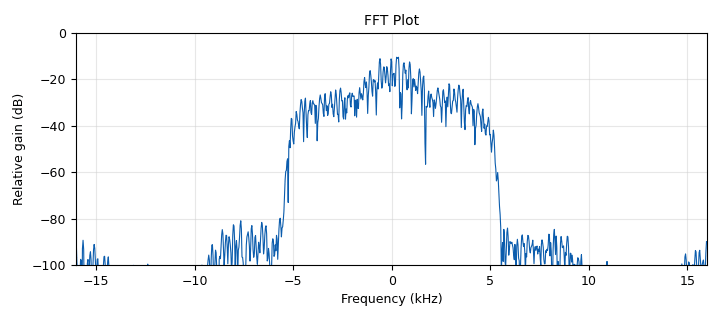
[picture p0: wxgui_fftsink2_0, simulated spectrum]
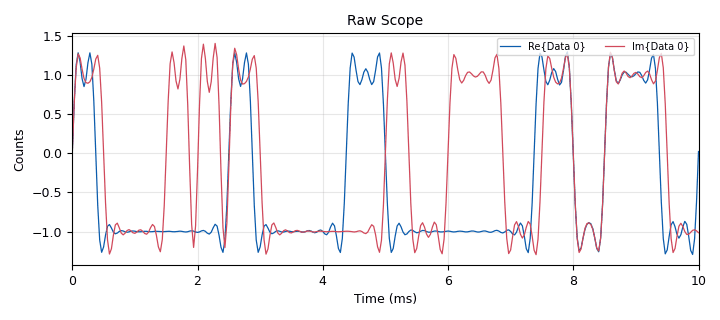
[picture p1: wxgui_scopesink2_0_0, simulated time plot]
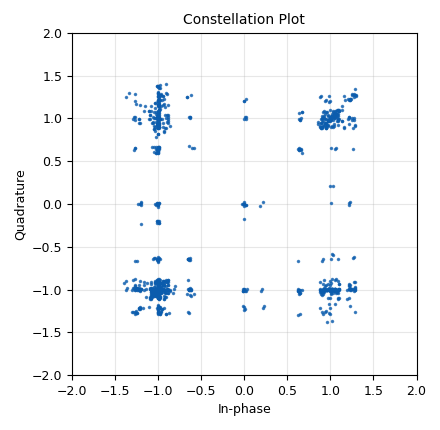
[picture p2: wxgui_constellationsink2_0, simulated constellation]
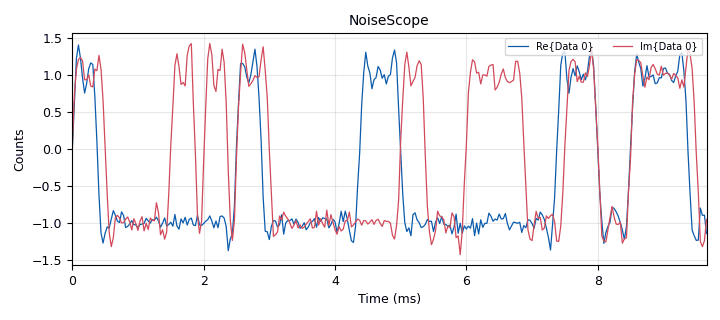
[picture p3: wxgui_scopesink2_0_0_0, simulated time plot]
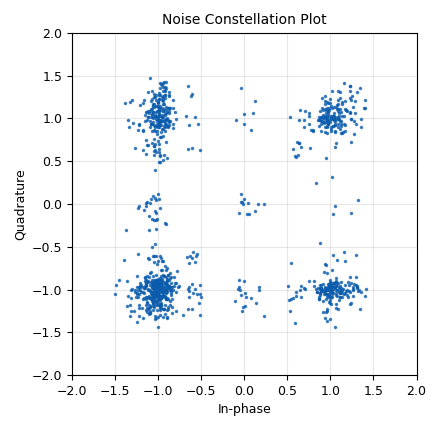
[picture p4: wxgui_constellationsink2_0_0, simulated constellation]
<?xml version='1.0' encoding='utf-8'?>
<flow_graph>
<block>
<key>options</key>
<param><key>id</key><value>top_block</value></param>
<param><key>generate_options</key><value>wx_gui</value></param>
<param><key>category</key><value>Custom</value></param>
</block>
<block>
<key>variable</key>
<param><key>id</key><value>n_samp</value></param>
<param><key>value</key><value>1024</value></param>
</block>
<block>
<key>random_source_x</key>
<param><key>id</key><value>random_source_x_0</value></param>
<param><key>type</key><value>byte</value></param>
<param><key>min</key><value>0</value></param>
<param><key>max</key><value>8</value></param>
<param><key>num_samps</key><value>1000000</value></param>
<param><key>repeat</key><value>True</value></param>
</block>
<block>
<key>wxgui_scopesink2</key>
<param><key>id</key><value>wxgui_scopesink2_0_1_0</value></param>
<param><key>_enabled</key><value>False</value></param>
<param><key>type</key><value>float</value></param>
<param><key>title</key><value>Scope Plot</value></param>
<param><key>samp_rate</key><value>samp_rate</value></param>
<param><key>v_scale</key><value>1.5</value></param>
<param><key>v_offset</key><value>0</value></param>
<param><key>t_scale</key><value>0</value></param>
<param><key>ac_couple</key><value>False</value></param>
<param><key>xy_mode</key><value>False</value></param>
<param><key>num_inputs</key><value>1</value></param>
<param><key>grid_pos</key><value>(1, 2, 2, 2)</value></param>
<param><key>notebook</key><value>notebook_0,2</value></param>
<param><key>trig_mode</key><value>gr.gr_TRIG_MODE_AUTO</value></param>
<param><key>y_axis_label</key><value>Counts</value></param>
</block>
<block>
<key>eecs_x_corr</key>
<param><key>id</key><value>eecs_x_corr_1_1</value></param>
<param><key>_enabled</key><value>False</value></param>
<param><key>freq</key><value>samp_rate</value></param>
<param><key>sampRate</key><value>samp_rate</value></param>
<param><key>nSamples</key><value>n_samp</value></param>
</block>
<block>
<key>eecs_x_corr</key>
<param><key>id</key><value>eecs_x_corr_1_0</value></param>
<param><key>_enabled</key><value>False</value></param>
<param><key>freq</key><value>samp_rate</value></param>
<param><key>sampRate</key><value>samp_rate</value></param>
<param><key>nSamples</key><value>n_samp</value></param>
</block>
<block>
<key>eecs_x_corr</key>
<param><key>id</key><value>eecs_x_corr_1</value></param>
<param><key>_enabled</key><value>False</value></param>
<param><key>freq</key><value>samp_rate</value></param>
<param><key>sampRate</key><value>samp_rate</value></param>
<param><key>nSamples</key><value>n_samp</value></param>
</block>
<block>
<key>gr_complex_to_real</key>
<param><key>id</key><value>gr_complex_to_real_0_3</value></param>
<param><key>_enabled</key><value>False</value></param>
<param><key>vlen</key><value>1</value></param>
</block>
<block>
<key>gr_complex_to_real</key>
<param><key>id</key><value>gr_complex_to_real_0</value></param>
<param><key>_enabled</key><value>False</value></param>
<param><key>vlen</key><value>1</value></param>
</block>
<block>
<key>gr_complex_to_real</key>
<param><key>id</key><value>gr_complex_to_real_0_0</value></param>
<param><key>_enabled</key><value>False</value></param>
<param><key>vlen</key><value>1</value></param>
</block>
<block>
<key>gr_complex_to_real</key>
<param><key>id</key><value>gr_complex_to_real_0_2</value></param>
<param><key>_enabled</key><value>False</value></param>
<param><key>vlen</key><value>1</value></param>
</block>
<block>
<key>gr_complex_to_real</key>
<param><key>id</key><value>gr_complex_to_real_0_1</value></param>
<param><key>_enabled</key><value>False</value></param>
<param><key>vlen</key><value>1</value></param>
</block>
<block>
<key>wxgui_scopesink2</key>
<param><key>id</key><value>wxgui_scopesink2_0_1</value></param>
<param><key>_enabled</key><value>False</value></param>
<param><key>type</key><value>float</value></param>
<param><key>title</key><value>Scope Plot</value></param>
<param><key>samp_rate</key><value>samp_rate</value></param>
<param><key>v_scale</key><value>0</value></param>
<param><key>v_offset</key><value>0</value></param>
<param><key>t_scale</key><value>0</value></param>
<param><key>ac_couple</key><value>False</value></param>
<param><key>xy_mode</key><value>False</value></param>
<param><key>num_inputs</key><value>4</value></param>
<param><key>grid_pos</key><value>(2, 1, 2, 1)</value></param>
<param><key>notebook</key><value>notebook_0,2</value></param>
<param><key>trig_mode</key><value>gr.gr_TRIG_MODE_AUTO</value></param>
<param><key>y_axis_label</key><value>Counts</value></param>
</block>
<block>
<key>wxgui_scopesink2</key>
<param><key>id</key><value>wxgui_scopesink2_0</value></param>
<param><key>_enabled</key><value>False</value></param>
<param><key>type</key><value>complex</value></param>
<param><key>title</key><value>Scope Plot</value></param>
<param><key>samp_rate</key><value>samp_rate</value></param>
<param><key>v_scale</key><value>0</value></param>
<param><key>v_offset</key><value>0</value></param>
<param><key>t_scale</key><value>0</value></param>
<param><key>ac_couple</key><value>False</value></param>
<param><key>xy_mode</key><value>False</value></param>
<param><key>num_inputs</key><value>1</value></param>
<param><key>notebook</key><value>notebook_0,0</value></param>
<param><key>trig_mode</key><value>gr.gr_TRIG_MODE_AUTO</value></param>
<param><key>y_axis_label</key><value>Counts</value></param>
</block>
<block>
<key>wxgui_fftsink2</key>
<param><key>id</key><value>wxgui_fftsink2_0</value></param>
<param><key>type</key><value>complex</value></param>
<param><key>title</key><value>FFT Plot</value></param>
<param><key>samp_rate</key><value>samp_rate</value></param>
<param><key>baseband_freq</key><value>0</value></param>
<param><key>y_per_div</key><value>10</value></param>
<param><key>y_divs</key><value>10</value></param>
<param><key>ref_level</key><value>0</value></param>
<param><key>ref_scale</key><value>2.0</value></param>
<param><key>fft_size</key><value>1024</value></param>
<param><key>fft_rate</key><value>15</value></param>
<param><key>peak_hold</key><value>False</value></param>
<param><key>average</key><value>False</value></param>
<param><key>avg_alpha</key><value>0</value></param>
<param><key>win</key><value>None</value></param>
<param><key>notebook</key><value>notebook_0,2</value></param>
<param><key>freqvar</key><value>None</value></param>
</block>
<block>
<key>blocks_throttle</key>
<param><key>id</key><value>blocks_throttle_0_0</value></param>
<param><key>type</key><value>complex</value></param>
<param><key>samples_per_second</key><value>samp_rate</value></param>
</block>
<block>
<key>wxgui_scopesink2</key>
<param><key>id</key><value>wxgui_scopesink2_0_0</value></param>
<param><key>type</key><value>complex</value></param>
<param><key>title</key><value>Raw Scope</value></param>
<param><key>samp_rate</key><value>samp_rate</value></param>
<param><key>v_scale</key><value>0</value></param>
<param><key>v_offset</key><value>0</value></param>
<param><key>t_scale</key><value>0</value></param>
<param><key>ac_couple</key><value>False</value></param>
<param><key>xy_mode</key><value>False</value></param>
<param><key>num_inputs</key><value>1</value></param>
<param><key>notebook</key><value>notebook_0,1</value></param>
<param><key>trig_mode</key><value>gr.gr_TRIG_MODE_AUTO</value></param>
<param><key>y_axis_label</key><value>Counts</value></param>
</block>
<block>
<key>blocks_add_xx</key>
<param><key>id</key><value>blocks_add_xx_0</value></param>
<param><key>type</key><value>complex</value></param>
</block>
<block>
<key>analog_noise_source_x</key>
<param><key>id</key><value>analog_noise_source_x_0</value></param>
<param><key>type</key><value>complex</value></param>
<param><key>noise_type</key><value>analog.GR_GAUSSIAN</value></param>
<param><key>amp</key><value>noise</value></param>
<param><key>seed</key><value>0</value></param>
</block>
<block>
<key>wxgui_constellationsink2</key>
<param><key>id</key><value>wxgui_constellationsink2_0</value></param>
<param><key>title</key><value>Constellation Plot</value></param>
<param><key>samp_rate</key><value>samp_rate</value></param>
<param><key>frame_rate</key><value>5</value></param>
<param><key>const_size</key><value>2048/2</value></param>
<param><key>M</key><value>4</value></param>
<param><key>theta</key><value>0</value></param>
<param><key>loop_bw</key><value>6.28/100.0</value></param>
<param><key>fmax</key><value>0.06</value></param>
<param><key>mu</key><value>0.5</value></param>
<param><key>gain_mu</key><value>0.005</value></param>
<param><key>symbol_rate</key><value>samp_rate/4.</value></param>
<param><key>omega_limit</key><value>0.005</value></param>
<param><key>notebook</key><value>notebook_0,0</value></param>
</block>
<block>
<key>notebook</key>
<param><key>id</key><value>notebook_0</value></param>
<param><key>style</key><value>wx.NB_TOP</value></param>
<param><key>labels</key><value>['Raw Const', 'Raw Scope','Cool','Clock Sync Const']</value></param>
</block>
<block>
<key>digital_psk_mod</key>
<param><key>id</key><value>digital_psk_mod_0</value></param>
<param><key>constellation_points</key><value>4</value></param>
<param><key>mod_code</key><value>"gray"</value></param>
<param><key>differential</key><value>True</value></param>
<param><key>samples_per_symbol</key><value>4</value></param>
<param><key>excess_bw</key><value>0.35</value></param>
</block>
<block>
<key>wxgui_constellationsink2</key>
<param><key>id</key><value>wxgui_constellationsink2_0_1</value></param>
<param><key>title</key><value>Constellation Plot</value></param>
<param><key>samp_rate</key><value>samp_rate</value></param>
<param><key>frame_rate</key><value>5</value></param>
<param><key>const_size</key><value>2048/2</value></param>
<param><key>M</key><value>4</value></param>
<param><key>theta</key><value>0</value></param>
<param><key>loop_bw</key><value>6.28/100.0</value></param>
<param><key>fmax</key><value>0.06</value></param>
<param><key>mu</key><value>0.5</value></param>
<param><key>gain_mu</key><value>0.005</value></param>
<param><key>symbol_rate</key><value>samp_rate/4.</value></param>
<param><key>omega_limit</key><value>0.005</value></param>
<param><key>notebook</key><value>notebook_0,3</value></param>
</block>
<block>
<key>wxgui_scopesink2</key>
<param><key>id</key><value>wxgui_scopesink2_0_0_0</value></param>
<param><key>type</key><value>complex</value></param>
<param><key>title</key><value>NoiseScope</value></param>
<param><key>samp_rate</key><value>samp_rate</value></param>
<param><key>v_scale</key><value>0</value></param>
<param><key>v_offset</key><value>0</value></param>
<param><key>t_scale</key><value>0</value></param>
<param><key>ac_couple</key><value>False</value></param>
<param><key>xy_mode</key><value>False</value></param>
<param><key>num_inputs</key><value>1</value></param>
<param><key>notebook</key><value>notebook_0,1</value></param>
<param><key>trig_mode</key><value>gr.gr_TRIG_MODE_AUTO</value></param>
<param><key>y_axis_label</key><value>Counts</value></param>
</block>
<block>
<key>blocks_multiply_const_vxx</key>
<param><key>id</key><value>blocks_multiply_const_vxx_0</value></param>
<param><key>type</key><value>complex</value></param>
<param><key>const</key><value>1+1j</value></param>
</block>
<block>
<key>wxgui_constellationsink2</key>
<param><key>id</key><value>wxgui_constellationsink2_0_0</value></param>
<param><key>title</key><value>Noise Constellation Plot</value></param>
<param><key>samp_rate</key><value>samp_rate</value></param>
<param><key>frame_rate</key><value>5</value></param>
<param><key>const_size</key><value>2048/2</value></param>
<param><key>M</key><value>4</value></param>
<param><key>theta</key><value>0</value></param>
<param><key>loop_bw</key><value>6.28/100.0</value></param>
<param><key>fmax</key><value>0.06</value></param>
<param><key>mu</key><value>0.5</value></param>
<param><key>gain_mu</key><value>0.005</value></param>
<param><key>symbol_rate</key><value>samp_rate/4.</value></param>
<param><key>omega_limit</key><value>0.005</value></param>
<param><key>notebook</key><value>notebook_0,0</value></param>
</block>
<block>
<key>import</key>
<param><key>id</key><value>import_0</value></param>
<param><key>import</key><value>import math</value></param>
</block>
<block>
<key>variable_slider</key>
<param><key>id</key><value>noise</value></param>
<param><key>label</key><value></value></param>
<param><key>value</key><value>.1</value></param>
<param><key>min</key><value>0</value></param>
<param><key>max</key><value>1</value></param>
<param><key>num_steps</key><value>100</value></param>
<param><key>style</key><value>wx.SL_HORIZONTAL</value></param>
<param><key>converver</key><value>float_converter</value></param>
<param><key>notebook</key><value>notebook_0,1</value></param>
</block>
<block>
<key>variable</key>
<param><key>id</key><value>samp_rate</value></param>
<param><key>value</key><value>32000</value></param>
</block>
<block>
<key>variable</key>
<param><key>id</key><value>fc</value></param>
<param><key>value</key><value>samp_rate</value></param>
</block>
<block>
<key>eecs_phase_shifter</key>
<param><key>id</key><value>eecs_phase_shifter_0</value></param>
<param><key>_enabled</key><value>False</value></param>
<param><key>Rs</key><value>20*wl</value></param>
<param><key>dx</key><value>wl/2</value></param>
<param><key>theta</key><value>theta*math.pi/180</value></param>
<param><key>wl</key><value>wl</value></param>
<param><key>ph0</key><value>0</value></param>
</block>
<block>
<key>variable_slider</key>
<param><key>id</key><value>theta</value></param>
<param><key>label</key><value>theta</value></param>
<param><key>value</key><value>0</value></param>
<param><key>min</key><value>-1*math.pi/2*0+-90</value></param>
<param><key>max</key><value>math.pi/2*0+90</value></param>
<param><key>num_steps</key><value>360*0+180</value></param>
<param><key>style</key><value>wx.SL_HORIZONTAL</value></param>
<param><key>converver</key><value>float_converter</value></param>
<param><key>notebook</key><value>notebook_0,2</value></param>
</block>
<block>
<key>variable</key>
<param><key>id</key><value>wl</value></param>
<param><key>value</key><value>300e6/fc</value></param>
</block>
<connection><source_block_id>analog_noise_source_x_0</source_block_id><sink_block_id>blocks_add_xx_0</sink_block_id><source_key>0</source_key><sink_key>1</sink_key></connection>
<connection><source_block_id>random_source_x_0</source_block_id><sink_block_id>digital_psk_mod_0</sink_block_id><source_key>0</source_key><sink_key>0</sink_key></connection>
<connection><source_block_id>digital_psk_mod_0</source_block_id><sink_block_id>blocks_multiply_const_vxx_0</sink_block_id><source_key>0</source_key><sink_key>0</sink_key></connection>
<connection><source_block_id>blocks_multiply_const_vxx_0</source_block_id><sink_block_id>blocks_throttle_0_0</sink_block_id><source_key>0</source_key><sink_key>0</sink_key></connection>
<connection><source_block_id>blocks_throttle_0_0</source_block_id><sink_block_id>wxgui_scopesink2_0_0</sink_block_id><source_key>0</source_key><sink_key>0</sink_key></connection>
<connection><source_block_id>gr_complex_to_real_0_3</source_block_id><sink_block_id>wxgui_scopesink2_0_1_0</sink_block_id><source_key>0</source_key><sink_key>0</sink_key></connection>
<connection><source_block_id>eecs_x_corr_1_1</source_block_id><sink_block_id>gr_complex_to_real_0_3</sink_block_id><source_key>0</source_key><sink_key>0</sink_key></connection>
<connection><source_block_id>eecs_x_corr_1_0</source_block_id><sink_block_id>eecs_x_corr_1_1</sink_block_id><source_key>0</source_key><sink_key>1</sink_key></connection>
<connection><source_block_id>eecs_x_corr_1</source_block_id><sink_block_id>eecs_x_corr_1_1</sink_block_id><source_key>0</source_key><sink_key>0</sink_key></connection>
<connection><source_block_id>eecs_phase_shifter_0</source_block_id><sink_block_id>eecs_x_corr_1_0</sink_block_id><source_key>3</source_key><sink_key>1</sink_key></connection>
<connection><source_block_id>eecs_phase_shifter_0</source_block_id><sink_block_id>eecs_x_corr_1_0</sink_block_id><source_key>2</source_key><sink_key>0</sink_key></connection>
<connection><source_block_id>eecs_phase_shifter_0</source_block_id><sink_block_id>eecs_x_corr_1</sink_block_id><source_key>1</source_key><sink_key>1</sink_key></connection>
<connection><source_block_id>eecs_phase_shifter_0</source_block_id><sink_block_id>eecs_x_corr_1</sink_block_id><source_key>0</source_key><sink_key>0</sink_key></connection>
<connection><source_block_id>gr_complex_to_real_0</source_block_id><sink_block_id>wxgui_scopesink2_0_1</sink_block_id><source_key>0</source_key><sink_key>0</sink_key></connection>
<connection><source_block_id>gr_complex_to_real_0_2</source_block_id><sink_block_id>wxgui_scopesink2_0_1</sink_block_id><source_key>0</source_key><sink_key>1</sink_key></connection>
<connection><source_block_id>gr_complex_to_real_0_1</source_block_id><sink_block_id>wxgui_scopesink2_0_1</sink_block_id><source_key>0</source_key><sink_key>2</sink_key></connection>
<connection><source_block_id>gr_complex_to_real_0_0</source_block_id><sink_block_id>wxgui_scopesink2_0_1</sink_block_id><source_key>0</source_key><sink_key>3</sink_key></connection>
<connection><source_block_id>eecs_phase_shifter_0</source_block_id><sink_block_id>gr_complex_to_real_0</sink_block_id><source_key>0</source_key><sink_key>0</sink_key></connection>
<connection><source_block_id>eecs_phase_shifter_0</source_block_id><sink_block_id>gr_complex_to_real_0_0</sink_block_id><source_key>3</source_key><sink_key>0</sink_key></connection>
<connection><source_block_id>eecs_phase_shifter_0</source_block_id><sink_block_id>gr_complex_to_real_0_2</sink_block_id><source_key>1</source_key><sink_key>0</sink_key></connection>
<connection><source_block_id>eecs_phase_shifter_0</source_block_id><sink_block_id>gr_complex_to_real_0_1</sink_block_id><source_key>2</source_key><sink_key>0</sink_key></connection>
<connection><source_block_id>blocks_throttle_0_0</source_block_id><sink_block_id>wxgui_constellationsink2_0</sink_block_id><source_key>0</source_key><sink_key>0</sink_key></connection>
<connection><source_block_id>blocks_throttle_0_0</source_block_id><sink_block_id>wxgui_fftsink2_0</sink_block_id><source_key>0</source_key><sink_key>0</sink_key></connection>
<connection><source_block_id>blocks_throttle_0_0</source_block_id><sink_block_id>blocks_add_xx_0</sink_block_id><source_key>0</source_key><sink_key>0</sink_key></connection>
<connection><source_block_id>blocks_add_xx_0</source_block_id><sink_block_id>wxgui_scopesink2_0_0_0</sink_block_id><source_key>0</source_key><sink_key>0</sink_key></connection>
<connection><source_block_id>blocks_add_xx_0</source_block_id><sink_block_id>wxgui_constellationsink2_0_0</sink_block_id><source_key>0</source_key><sink_key>0</sink_key></connection>
</flow_graph>
